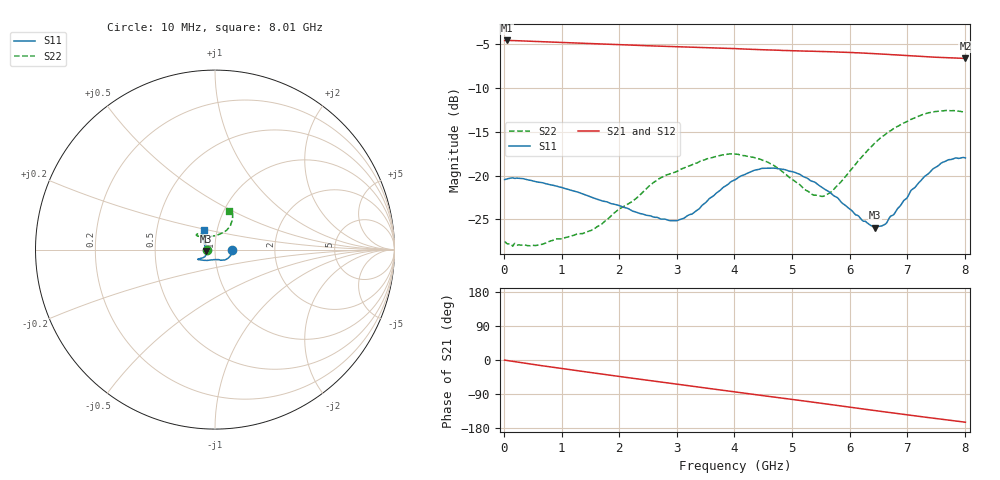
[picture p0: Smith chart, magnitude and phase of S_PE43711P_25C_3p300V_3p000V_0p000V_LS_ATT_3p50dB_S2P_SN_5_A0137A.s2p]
! Device ID: PE43711P
! File Path: z:\PE43711P\CHAR_NOM_04282014\AMB\3p300\LS_ATT_3p50dB\PE43711P_AMB_3p300V_3p000V_0p000V_LS_ATT_3p50dB_S2P_SN_5_A0137A.s2p
! Serial: 5
! Lot: A0137A
! Temp: 25C
! VDD: 3.300
! VSS: 0.000
! Control_Hi: 3.000
! Control_Lo: 0.000
! Attenuation Step: 3.50dB
! Port 1: RF1
! Port 2: RF2
! ThroughPath:1-2
! IDD: 0.0001278912
! ISS: -5.23e-008
#  Hz  S  RI  R  50
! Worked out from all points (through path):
!   801 points, 10 MHz to 8.01 GHz, reference 50 ohm
!   highest |S21| = -4.54 dB at 50 MHz (marker M1); lowest = -6.6 dB at 8.01 GHz (marker M2)
!   group delay of S21, straight-line fit = 56.6 ps
!   lowest |S11| = -26.0 dB at 6.44 GHz (marker M3), VSWR 1.11, Z = 45.3 - j0.732 ohm
!   |S11| at or under -10 dB: start of sweep to end of sweep
!   |S22| runs from -28.1 to -12.5 dB; largest |S21 - S12| = 0.0013
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1e7  0.0949 -0.000392  0.5925 -0.00301  0.5927 -0.00306  -0.0419 0.000241
5e7  0.0956 -0.00227  0.5925 -0.0127  0.5924 -0.0126  -0.0408 0.000733
5.6e8  0.0855 -0.0342  0.5698 -0.1309  0.5698 -0.1309  -0.0393 -0.00628
1.35e9  0.0537 -0.0578  0.4962 -0.2841  0.4965 -0.2843  -0.0464 0.00394
1.69e9  0.0409 -0.0591  0.4526 -0.3402  0.453 -0.3403  -0.0487 0.0198
2.68e9  0.0138 -0.0556  0.2979 -0.4626  0.2981 -0.4629  -0.0597 0.0746
3.12e9  -0.00971 -0.0561  0.2199 -0.4981  0.22 -0.4985  -0.0711 0.0843
3.55e9  -0.0413 -0.0602  0.1407 -0.5198  0.1408 -0.52  -0.0878 0.0895
4.01e9  -0.0751 -0.0576  0.0534 -0.5295  0.053 -0.5299  -0.1035 0.0829
4.34e9  -0.0918 -0.0551  -0.00807 -0.5267  -0.00816 -0.5271  -0.1006 0.0771
4.68e9  -0.0961 -0.0541  -0.0697 -0.5169  -0.0698 -0.5171  -0.0881 0.0731
5.04e9  -0.0904 -0.0523  -0.1318 -0.5003  -0.1322 -0.5002  -0.0602 0.0714
5.35e9  -0.0795 -0.0477  -0.1842 -0.4798  -0.1844 -0.4804  -0.0285 0.0725
5.53e9  -0.0715 -0.0462  -0.2137 -0.4654  -0.2137 -0.4656  -0.00787 0.0756
5.68e9  -0.0651 -0.0446  -0.2378 -0.4518  -0.2379 -0.4518  0.0102 0.0799
6.44e9  -0.0497 -0.00807  -0.3424 -0.3613  -0.3428 -0.3616  0.0827 0.1293
6.59e9  -0.0519 0.00421  -0.3587 -0.3404  -0.3589 -0.341  0.0885 0.144
6.68e9  -0.0549 0.014  -0.3681 -0.3279  -0.368 -0.3284  0.0919 0.1529
7.08e9  -0.0653 0.0511  -0.4027 -0.2684  -0.4028 -0.2687  0.0979 0.1863
7.45e9  -0.0698 0.0841  -0.426 -0.2123  -0.4262 -0.2124  0.0923 0.2119
7.7e9  -0.0706 0.1002  -0.4382 -0.1746  -0.4381 -0.1742  0.0848 0.2201
8.01e9  -0.0619 0.1098  -0.45 -0.1277  -0.4506 -0.1265  0.0798 0.2153
